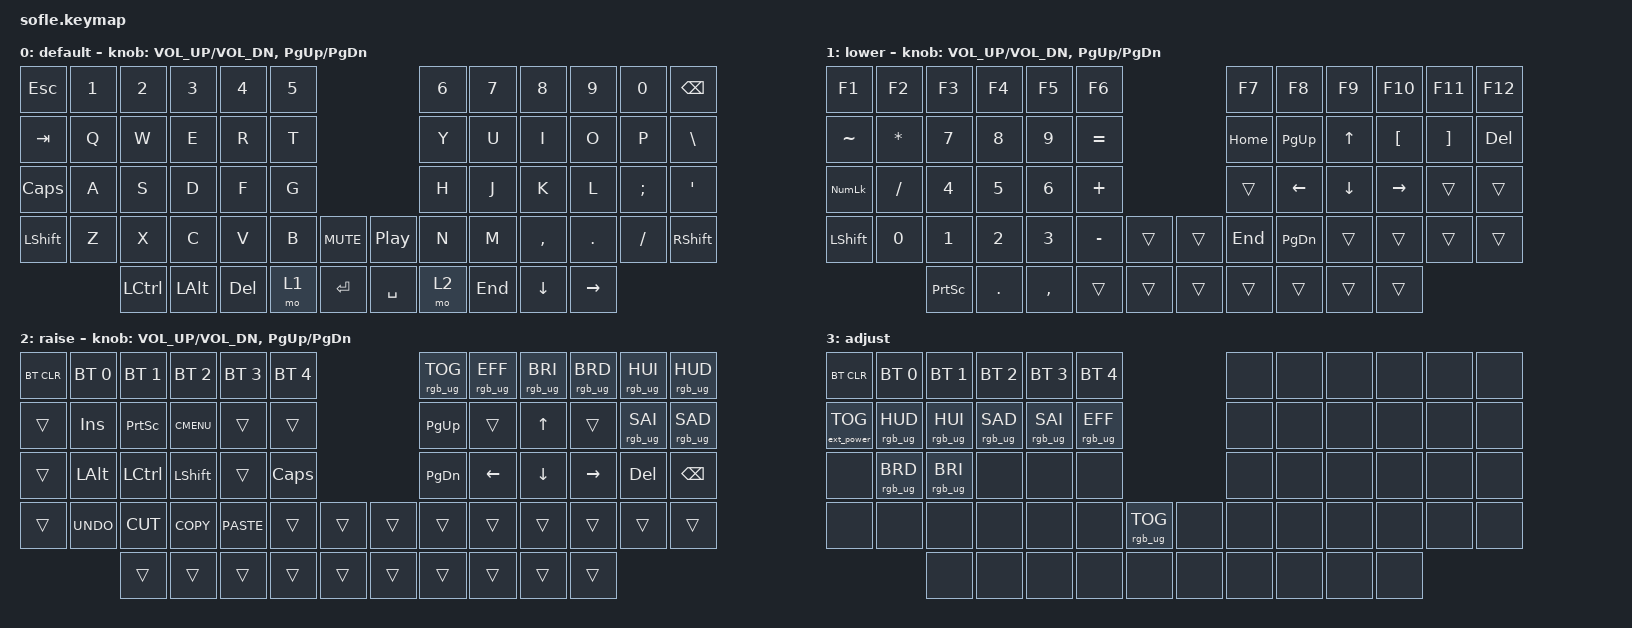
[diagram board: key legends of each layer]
/*
 * Copyright (c) 2020 The ZMK Contributors
 *
 * SPDX-License-Identifier: MIT
 */

#include <behaviors.dtsi>
#include <dt-bindings/zmk/keys.h>
#include <dt-bindings/zmk/bt.h>
#include <dt-bindings/zmk/rgb.h>
#include <dt-bindings/zmk/ext_power.h>

#define BASE 0
#define LOWER 1
#define RAISE 2
#define ADJUST 3

/ {

   // Activate ADJUST layer by pressing raise and lower
    conditional_layers {
        compatible = "zmk,conditional-layers";
        adjust_layer {
            if-layers = <LOWER RAISE>;
            then-layer = <ADJUST>;
        };
    };

    keymap {
        compatible = "zmk,keymap";

        default_layer {
            display-name = "default";
// ------------------------------------------------------------------------------------------------------------
// |  ESC  |  1  |  2  |  3   |  4   |  5   |                   |  6   |  7    |  8    |  9   |   0   | BKSPC |
// |  TAB  |  Q  |  W  |  E   |  R   |  T   |                   |  Y   |  U    |  I    |  O   |   P   |   \   |
// |  CAPS |  A  |  S  |  D   |  F   |  G   |                   |  H   |  J    |  K    |  L   |   ;   |   '   |
// | SHIFT |  Z  |  X  |  C   |  V   |  B   |  MUTE  |  | PLAY  |  N   |  M    |  ,    |  .   |   /   | SHIFT |
//               | CTRL| ALT  | DEL | LOWER|  ENTER |  | SPACE | RAISE| EBD   |  V    |  ->  |
            bindings = <
&kp ESC   &kp N1 &kp N2    &kp N3    &kp N4    &kp N5                             &kp N6 &kp N7    &kp N8    &kp N9  &kp N0   &kp BACKSPACE
&kp TAB   &kp Q  &kp W     &kp E     &kp R     &kp T                              &kp Y  &kp U     &kp I     &kp O   &kp P    &kp BACKSLASH
&kp CAPS  &kp A  &kp S     &kp D     &kp F     &kp G                              &kp H  &kp J     &kp K     &kp L   &kp SEMI &kp SQT
&kp LSHFT &kp Z  &kp X     &kp C     &kp V     &kp B  &kp C_MUTE      &kp C_PP    &kp N  &kp M     &kp COMMA &kp DOT &kp FSLH &kp RSHFT
                 &kp LCTRL &kp LALT  &kp DEL  &mo 1  &kp RET         &kp SPACE   &mo 2  &kp END &kp DOWN  &kp RIGHT
            >;

            sensor-bindings = <&inc_dec_kp C_VOL_UP C_VOL_DN &inc_dec_kp PG_UP PG_DN>;
        };

        lower_layer {
            display-name = "lower";
// TODO: Some binds are waiting for shifted keycode support.
// ------------------------------------------------------------------------------------------------------------
// |  F1   |  F2 |  F3 |  F4  |  F5  |  F6  |                   | F7   |  F8   |  F9   |  F10 |  F11  |  F12  |
// |  ~    |  *  |  7  |  8   |  9   |  =   |                   | HOME | PG_UP |   ^   |  [   |  ]    |  DEL  |
// |  NLCK |  /  |  4  |  5   |  6   |  +   |                   |      |   <-  |   v   |  ->  |       |       |
// | LShft |  0  |  1  |  2   |  3   |  -   |        |  |       | END  | PG_DN |       |      |       |       |
//               | PRSC|  .   |  ,   |      |        |  |       |      |       |       |      |
            bindings = <
&kp F1       &kp F2           &kp F3             &kp F4         &kp F5       &kp F6                           &kp F7    &kp F8    &kp F9     &kp F10    &kp F11   &kp F12
&kp TILDE    &kp ASTERISK     &kp N7             &kp N8         &kp N9       &kp EQUAL                        &kp HOME  &kp PG_UP &kp UP     &kp LBKT   &kp RBKT  &kp DEL
&kp KP_NUM   &kp SLASH        &kp N4             &kp N5         &kp N6       &kp PLUS                         &trans    &kp LEFT  &kp DOWN   &kp RIGHT  &trans    &trans
&kp LSHFT    &kp N0           &kp N1             &kp N2         &kp N3       &kp MINUS     &trans   &trans    &kp END   &kp PG_DN &trans     &trans     &trans    &trans
                              &kp PSCRN          &kp DOT        &kp COMMA    &trans        &trans   &trans    &trans    &trans    &trans     &trans
            >;

            sensor-bindings = <&inc_dec_kp C_VOL_UP C_VOL_DN &inc_dec_kp PG_UP PG_DN>;
        };

        raise_layer {
            display-name = "raise";
// ------------------------------------------------------------------------------------------------------------
// |BTCLR| BT1  | BT2  |  BT3  |  BT4  |  BT5 |                | RGB  | RGB  |  RGB  | RGB  |  RGB  |  RGB  |
// |     | INS  | PSCR | GUI   |       |      |                | PGUP |      |   ^   |      |  RGB  |  RGB  |
// |     | ALT  | CTRL | SHIFT |       | CAPS |                | PGDN |   <- |   v   |  ->  |  DEL  | BKSPC |
// |     | UNDO | CUT  | COPY  | PASTE |      |      |  |      |      |      |       |      |       |       |
//              |      |       |       |      |      |  |      |      |      |       |      |
            bindings = <
&bt BT_CLR &bt BT_SEL 0 &bt BT_SEL 1 &bt BT_SEL 2 &bt BT_SEL 3 &bt BT_SEL 4             &rgb_ug RGB_TOG   &rgb_ug RGB_EFF   &rgb_ug RGB_BRI  &rgb_ug RGB_BRD   &rgb_ug RGB_HUI &rgb_ug RGB_HUD
&trans     &kp INS      &kp PSCRN    &kp K_CMENU  &trans       &trans                   &kp PG_UP         &trans            &kp UP           &trans            &rgb_ug RGB_SAI &rgb_ug RGB_SAD
&trans     &kp LALT     &kp LCTRL    &kp LSHFT    &trans       &kp CLCK                 &kp PG_DN         &kp LEFT          &kp DOWN         &kp RIGHT         &kp DEL         &kp BSPC
&trans     &kp K_UNDO   &kp K_CUT    &kp K_COPY   &kp K_PASTE  &trans  &trans   &trans  &trans            &trans            &trans           &trans            &trans          &trans
                        &trans       &trans       &trans       &trans  &trans   &trans  &trans            &trans            &trans           &trans
            >;

            sensor-bindings = <&inc_dec_kp C_VOL_UP C_VOL_DN &inc_dec_kp PG_UP PG_DN>;
        };

        adjust_layer {
// ----------------------------------------------------------------------------------------------------------------------------
// | BTCLR  |  BT1    |  BT2    |   BT3   |   BT4   |   BT5   |                  |      |      |       |      |       |       |
// | EXTPWR | RGB_HUD | RGB_HUI | RGB_SAD | RGB_SAI | RGB_EFF |                  |      |      |       |      |       |       |
// |        | RGB_BRD | RGB_BRI |         |         |         |                  |      |      |       |      |       |       |
// |        |         |         |         |         |         | RGB_TOG | |      |      |      |       |      |       |       |
//                    |         |         |         |         |         | |      |      |      |       |      |
            display-name = "adjust";
            bindings = <
&bt BT_CLR        &bt BT_SEL 0    &bt BT_SEL 1    &bt BT_SEL 2    &bt BT_SEL 3    &bt BT_SEL 4                            &none &none &none &none &none &none
&ext_power EP_TOG &rgb_ug RGB_HUD &rgb_ug RGB_HUI &rgb_ug RGB_SAD &rgb_ug RGB_SAI &rgb_ug RGB_EFF                         &none &none &none &none &none &none
&none             &rgb_ug RGB_BRD &rgb_ug RGB_BRI &none           &none           &none                                   &none &none &none &none &none &none
&none             &none           &none           &none           &none           &none            &rgb_ug RGB_TOG &none  &none &none &none &none &none &none
                                  &none           &none           &none           &none            &none           &none  &none &none &none &none
            >;
        };

    };
};
